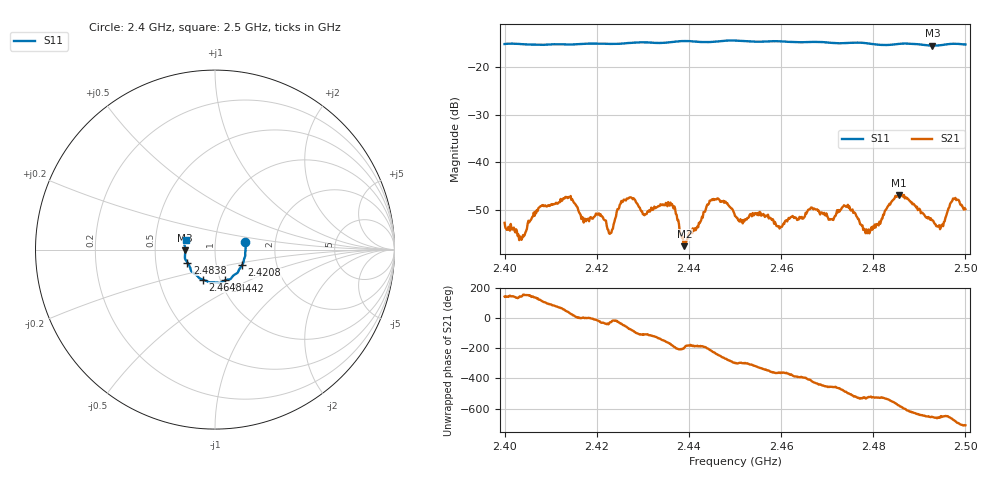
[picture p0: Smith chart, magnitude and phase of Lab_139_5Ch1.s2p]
# Hz S RI R 50
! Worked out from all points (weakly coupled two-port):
!   601 points, 2.4 GHz to 2.5 GHz, reference 50 ohm
!   highest |S21| = -46.77 dB at 2.4855 GHz (marker M1); lowest = -57.5 dB at 2.439 GHz (marker M2)
!   lowest |S11| = -15.6 dB at 2.4928 GHz (marker M3), VSWR 1.40, Z = 35.8 - j0.346 ohm
!   |S11| at or under -10 dB: start of sweep to end of sweep
!   S12 and S22 are empty: the file has one direction only
!   S11 on the Smith chart (normalised r, x): 2.4 GHz: 1.40, +0.12; 2.4208 GHz: 1.33, -0.24; 2.4442 GHz: 1.05, -0.37; 2.4648 GHz: 0.83, -0.29; 2.4838 GHz: 0.73, -0.11; 2.5 GHz: 0.72, +0.08
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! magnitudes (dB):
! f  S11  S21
! 2.4 GHz  -15.3  -52.6
! 2.4037 GHz  -15.3  -56.2
! 2.4078 GHz  -15.4  -49.1
! 2.4138 GHz  -15.4  -47.2
! 2.4167 GHz  -15.2  -51.8
! 2.4208 GHz  -15.2  -50.8
! 2.423 GHz  -15.2  -54.8
! 2.4263 GHz  -15.1  -47.9
! 2.4333 GHz  -15.0  -49.1
! 2.4365 GHz  -14.8  -49.2
! 2.439 GHz  -14.6  -57.5
! 2.4442 GHz  -14.9  -48.8
! 2.45 GHz  -14.5  -51.2
! 2.4648 GHz  -14.9  -51.7
! 2.4667 GHz  -14.8  -49.4
! 2.4743 GHz  -15.0  -49.1
! 2.4788 GHz  -15.1  -54.8
! 2.4833 GHz  -15.5  -49.0
! 2.4838 GHz  -15.4  -48.4
! 2.4855 GHz  -15.2  -46.8
! 2.4928 GHz  -15.6  -52.1
! 2.5 GHz  -15.4  -49.7
